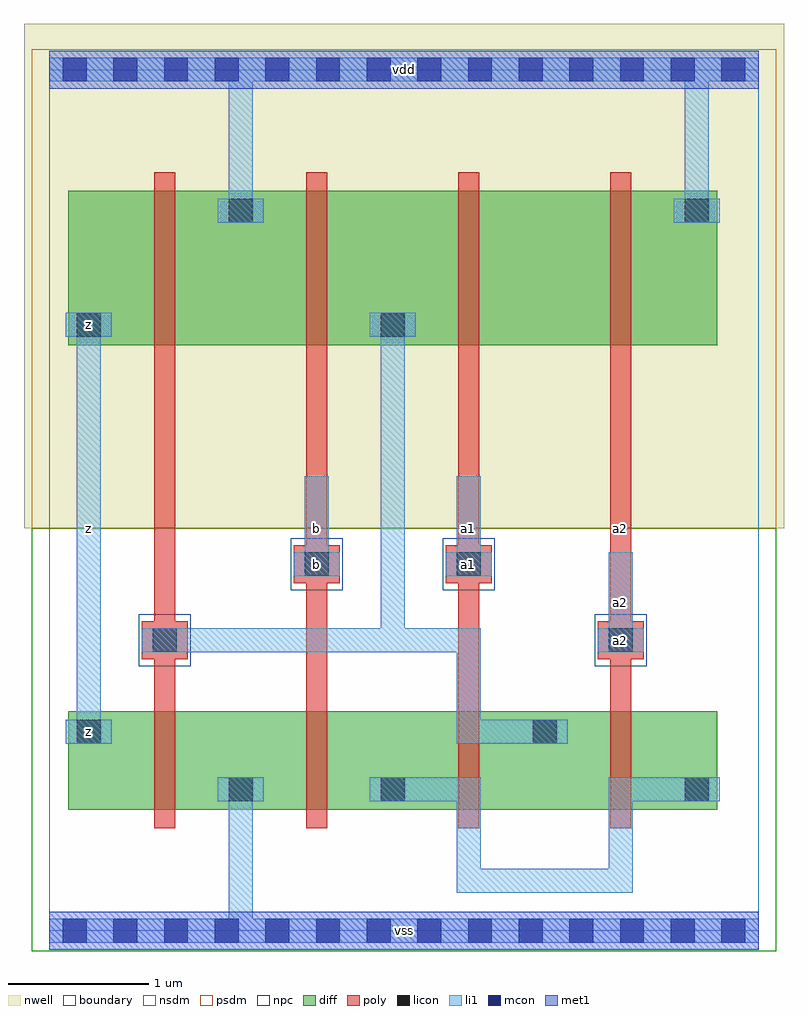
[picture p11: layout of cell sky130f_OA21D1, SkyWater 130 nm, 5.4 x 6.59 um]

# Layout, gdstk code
import gdstk
lib = gdstk.Library(unit=1e-6, precision=1e-09)
def R(c, l, rs):  # rectangles x0, y0, x1, y1
    for r in rs: c.add(gdstk.rectangle(r[:2], r[2:], *l))
def A(c, l, x, y, w, h, nx, ny, dx, dy):  # array of equal rectangles
    R(c, l, [(x+i*dx, y+j*dy, x+i*dx+w, y+j*dy+h) for i in range(nx) for j in range(ny)])
L0_0 = (0, 0)
nwell = (64, 20)
diff = (65, 20)
poly = (66, 20)
licon = (66, 44)
li1 = (67, 20)
mcon = (67, 44)
met1 = (68, 20)
nsdm = (93, 44)
psdm = (94, 20)
npc = (95, 20)
boundary = (235, 4)

sky130f_oa21d1 = lib.new_cell('sky130f_OA21D1')
R(sky130f_oa21d1, nwell, [(-0.18,2.86,5.22,6.445)])
A(sky130f_oa21d1, diff, 0.135, 0.86, 1.37, 0.7, 4, 1, 1.08, 0)
A(sky130f_oa21d1, diff, 0.135, 4.16, 1.37, 1.1, 4, 1, 1.08, 0)
R(sky130f_oa21d1, diff, [(1.215,0.86,1.505,1.15), (2.295,0.86,2.585,1.15), (4.455,0.86,4.745,1.15), (0.135,1.27,0.425,1.56), (3.375,1.27,3.665,1.56), (0.135,4.16,0.425,4.45), (2.295,4.16,2.585,4.45), (1.215,4.97,1.505,5.26), (4.455,4.97,4.745,5.26)])
A(sky130f_oa21d1, poly, 0.745, 0.73, 0.15, 0.96, 4, 1, 1.08, 0)
A(sky130f_oa21d1, poly, 1.825, 1.34, 0.15, 3.04, 3, 1, 1.08, 0)
A(sky130f_oa21d1, poly, 0.745, 4.03, 0.15, 1.36, 4, 1, 1.08, 0)
R(sky130f_oa21d1, poly, [(0.745,1.34,0.895,2.14), (0.655,1.93,0.985,2.2), (3.895,1.93,4.225,2.2), (0.745,1.99,0.895,4.38), (1.735,2.47,2.065,2.74), (2.815,2.47,3.145,2.74)])
R(sky130f_oa21d1, licon, [(1.275,0.92,1.445,1.09), (2.355,0.92,2.525,1.09), (4.515,0.92,4.685,1.09), (0.195,1.33,0.365,1.5), (3.435,1.33,3.605,1.5), (0.735,1.98,0.905,2.15), (3.975,1.98,4.145,2.15), (1.815,2.52,1.985,2.69), (2.895,2.52,3.065,2.69), (0.195,4.22,0.365,4.39), (2.355,4.22,2.525,4.39), (1.275,5.03,1.445,5.2), (4.515,5.03,4.685,5.2)])
R(sky130f_oa21d1, li1, [(0,-0.085,5.04,0.085), (1.275,0.06,1.445,1.09), (2.895,0.27,3.065,1.09), (2.895,0.27,4.145,0.44), (3.975,0.27,4.145,1.09), (1.195,0.92,1.525,1.09), (2.275,0.92,2.605,1.09), (2.355,0.92,3.065,1.09), (3.975,0.92,4.685,1.09), (4.435,0.92,4.765,1.09), (0.115,1.33,0.445,1.5), (0.195,1.33,0.365,4.39), (2.895,1.33,3.605,1.5), (2.895,1.33,3.065,2.15), (3.355,1.33,3.685,1.5), (0.655,1.98,0.985,2.15), (0.735,1.98,3.065,2.15), (2.355,1.98,2.525,4.39), (3.895,1.98,4.225,2.15), (3.975,1.98,4.145,2.69), (1.735,2.52,2.065,2.69), (1.815,2.52,1.985,3.23), (2.815,2.52,3.145,2.69), (2.895,2.52,3.065,3.23), (0.115,4.22,0.445,4.39), (2.275,4.22,2.605,4.39), (1.195,5.03,1.525,5.2), (1.275,5.03,1.445,6.06), (4.435,5.03,4.765,5.2), (4.515,5.03,4.685,6.06), (0,6.035,5.04,6.205)])
A(sky130f_oa21d1, mcon, 0.095, -0.085, 0.17, 0.17, 14, 2, 0.36, 6.12)
R(sky130f_oa21d1, met1, [(0,-0.135,5.04,0.135), (0,5.985,5.04,6.255)])
R(sky130f_oa21d1, nsdm, [(-0.125,-0.145,5.165,0.145), (-0.125,0.145,5.165,2.86)])
R(sky130f_oa21d1, psdm, [(-0.125,2.86,5.165,5.975), (-0.125,5.975,5.165,6.265)])
R(sky130f_oa21d1, npc, [(0.635,1.88,1.005,2.25), (3.875,1.88,4.245,2.25), (1.715,2.42,2.085,2.79), (2.795,2.42,3.165,2.79)])
R(sky130f_oa21d1, boundary, [(0,0,5.04,6.12)])
sky130f_oa21d1.add(gdstk.FlexPath([(0.115,0.355),(4.765,0.355)], 0, ends="flush", simple_path=True, layer=0, datatype=0))  # L0_0
sky130f_oa21d1.add(gdstk.FlexPath([(0.115,1.005),(4.765,1.005)], 0, ends="flush", simple_path=True, layer=0, datatype=0))  # L0_0
sky130f_oa21d1.add(gdstk.FlexPath([(0.115,1.415),(4.765,1.415)], 0, ends="flush", simple_path=True, layer=0, datatype=0))  # L0_0
sky130f_oa21d1.add(gdstk.FlexPath([(0.115,2.065),(4.765,2.065)], 0, ends="flush", simple_path=True, layer=0, datatype=0))  # L0_0
sky130f_oa21d1.add(gdstk.FlexPath([(0.115,2.605),(4.765,2.605)], 0, ends="flush", simple_path=True, layer=0, datatype=0))  # L0_0
sky130f_oa21d1.add(gdstk.FlexPath([(0.115,3.145),(4.765,3.145)], 0, ends="flush", simple_path=True, layer=0, datatype=0))  # L0_0
sky130f_oa21d1.add(gdstk.FlexPath([(0.115,4.305),(4.765,4.305)], 0, ends="flush", simple_path=True, layer=0, datatype=0))  # L0_0
sky130f_oa21d1.add(gdstk.FlexPath([(0.115,4.775),(4.765,4.775)], 0, ends="flush", simple_path=True, layer=0, datatype=0))  # L0_0
sky130f_oa21d1.add(gdstk.FlexPath([(0.115,5.115),(4.765,5.115)], 0, ends="flush", simple_path=True, layer=0, datatype=0))  # L0_0
sky130f_oa21d1.add(gdstk.FlexPath([(0.115,5.765),(4.765,5.765)], 0, ends="flush", simple_path=True, layer=0, datatype=0))  # L0_0
sky130f_oa21d1.add(gdstk.FlexPath([(0.28,0.06),(0.28,6.06)], 0, ends="flush", simple_path=True, layer=0, datatype=0))  # L0_0
sky130f_oa21d1.add(gdstk.FlexPath([(0.82,0.06),(0.82,6.06)], 0, ends="flush", simple_path=True, layer=0, datatype=0))  # L0_0
sky130f_oa21d1.add(gdstk.FlexPath([(1.36,0.06),(1.36,6.06)], 0, ends="flush", simple_path=True, layer=0, datatype=0))  # L0_0
sky130f_oa21d1.add(gdstk.FlexPath([(1.9,0.06),(1.9,6.06)], 0, ends="flush", simple_path=True, layer=0, datatype=0))  # L0_0
sky130f_oa21d1.add(gdstk.FlexPath([(2.44,0.06),(2.44,6.06)], 0, ends="flush", simple_path=True, layer=0, datatype=0))  # L0_0
sky130f_oa21d1.add(gdstk.FlexPath([(2.98,0.06),(2.98,6.06)], 0, ends="flush", simple_path=True, layer=0, datatype=0))  # L0_0
sky130f_oa21d1.add(gdstk.FlexPath([(3.52,0.06),(3.52,6.06)], 0, ends="flush", simple_path=True, layer=0, datatype=0))  # L0_0
sky130f_oa21d1.add(gdstk.FlexPath([(4.06,0.06),(4.06,6.06)], 0, ends="flush", simple_path=True, layer=0, datatype=0))  # L0_0
sky130f_oa21d1.add(gdstk.FlexPath([(4.6,0.06),(4.6,6.06)], 0, ends="flush", simple_path=True, layer=0, datatype=0))  # L0_0
sky130f_oa21d1.add(gdstk.Label('z', (0.28,1.415), layer=65, texttype=20))
sky130f_oa21d1.add(gdstk.Label('z', (0.28,4.305), layer=65, texttype=20))
sky130f_oa21d1.add(gdstk.Label('a2', (4.06,2.86), layer=66, texttype=20))
sky130f_oa21d1.add(gdstk.Label('a2', (4.06,2.065), layer=66, texttype=20))
sky130f_oa21d1.add(gdstk.Label('a1', (2.98,2.86), layer=66, texttype=20))
sky130f_oa21d1.add(gdstk.Label('a1', (2.98,2.605), layer=66, texttype=20))
sky130f_oa21d1.add(gdstk.Label('b', (1.9,2.86), layer=66, texttype=20))
sky130f_oa21d1.add(gdstk.Label('b', (1.9,2.605), layer=66, texttype=20))
sky130f_oa21d1.add(gdstk.Label('z', (0.28,1.415), layer=66, texttype=44))
sky130f_oa21d1.add(gdstk.Label('z', (0.28,4.305), layer=66, texttype=44))
sky130f_oa21d1.add(gdstk.Label('a2', (4.06,2.065), layer=66, texttype=44))
sky130f_oa21d1.add(gdstk.Label('a1', (2.98,2.605), layer=66, texttype=44))
sky130f_oa21d1.add(gdstk.Label('b', (1.9,2.605), layer=66, texttype=44))
sky130f_oa21d1.add(gdstk.Label('a2', (4.06,2.065), layer=67, texttype=5))
sky130f_oa21d1.add(gdstk.Label('a2', (4.06,2.335), layer=67, texttype=5))
sky130f_oa21d1.add(gdstk.Label('a1', (2.98,2.605), layer=67, texttype=5))
sky130f_oa21d1.add(gdstk.Label('a1', (2.98,2.875), layer=67, texttype=5))
sky130f_oa21d1.add(gdstk.Label('b', (1.9,2.605), layer=67, texttype=5))
sky130f_oa21d1.add(gdstk.Label('b', (1.9,2.875), layer=67, texttype=5))
sky130f_oa21d1.add(gdstk.Label('z', (0.28,1.415), layer=67, texttype=5))
sky130f_oa21d1.add(gdstk.Label('z', (0.28,4.305), layer=67, texttype=5))
sky130f_oa21d1.add(gdstk.Label('z', (0.28,2.86), layer=67, texttype=5))
sky130f_oa21d1.add(gdstk.Label('vss', (2.52,0), layer=67, texttype=5))
sky130f_oa21d1.add(gdstk.Label('vdd', (2.52,6.12), layer=67, texttype=5))
sky130f_oa21d1.add(gdstk.Label('vss', (2.52,0), layer=68, texttype=5))
sky130f_oa21d1.add(gdstk.Label('vdd', (2.52,6.12), layer=68, texttype=5))

lib.write_gds('sky130f_OA21D1.gds')
